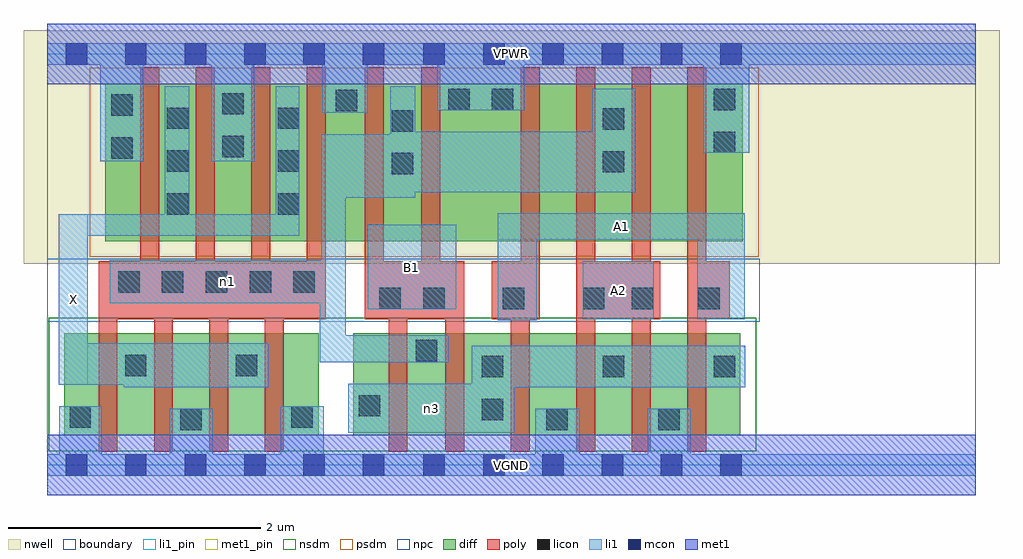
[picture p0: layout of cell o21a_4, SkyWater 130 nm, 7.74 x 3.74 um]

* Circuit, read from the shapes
.subckt o21a_4 A1 A2 B1 VGND VPWR X n1 n3
XM1 X n1 VGND VSUBS sky130_fd_pr__nfet_01v8 w=0.81 l=0.15 m=4
XM2 n1 B1 n3 VSUBS sky130_fd_pr__nfet_01v8 w=0.81 l=0.15 m=2
XM3 VGND A1 n3 VSUBS sky130_fd_pr__nfet_01v8 w=0.81 l=0.15 m=2
XM4 n3 A2 VGND VSUBS sky130_fd_pr__nfet_01v8 w=0.81 l=0.15 m=2
XM5 X n1 VPWR n2 sky130_fd_pr__pfet_01v8 w=1.25 l=0.15 m=4
XM6 n1 B1 VPWR n2 sky130_fd_pr__pfet_01v8 w=1.25 l=0.15 m=2
XM7 n4 A1 VPWR n2 sky130_fd_pr__pfet_01v8 w=1.25 l=0.15
XM8 n1 A2 n4 n2 sky130_fd_pr__pfet_01v8 w=1.25 l=0.15
XM9 n5 A2 n1 n2 sky130_fd_pr__pfet_01v8 w=1.25 l=0.15
XM10 VPWR A1 n5 n2 sky130_fd_pr__pfet_01v8 w=1.25 l=0.15
.ends

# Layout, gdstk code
import gdstk
lib = gdstk.Library(unit=1e-6, precision=1e-09)
def R(c, l, rs):  # rectangles x0, y0, x1, y1
    for r in rs: c.add(gdstk.rectangle(r[:2], r[2:], *l))
def A(c, l, x, y, w, h, nx, ny, dx, dy):  # array of equal rectangles
    R(c, l, [(x+i*dx, y+j*dy, x+i*dx+w, y+j*dy+h) for i in range(nx) for j in range(ny)])
nwell = (64, 20)
diff = (65, 20)
poly = (66, 20)
licon = (66, 44)
li1_pin = (67, 16)
li1 = (67, 20)
mcon = (67, 44)
met1_pin = (68, 16)
met1 = (68, 20)
nsdm = (93, 44)
psdm = (94, 20)
npc = (95, 20)
boundary = (235, 4)

o21a_4 = lib.new_cell('o21a_4')
R(o21a_4, nwell, [(-0.19,1.595,7.55,3.45), (0,1.595,7.36,3.45)])
R(o21a_4, diff, [(0.135,0.235,2.15,1.045), (2.425,0.235,5.495,1.045), (0.46,1.775,5.515,3.025)])
A(o21a_4, poly, 0.405, 0.105, 0.15, 1.51, 4, 1, 0.44, 0)
A(o21a_4, poly, 4.195, 0.105, 0.15, 3.05, 3, 1, 0.44, 0)
A(o21a_4, poly, 0.735, 1.155, 0.15, 2, 4, 1, 0.44, 0)
R(o21a_4, poly, [(2.705,0.105,2.855,1.615), (3.155,0.105,3.305,1.615), (3.675,0.105,3.825,1.615), (0.405,1.155,2.205,1.615), (2.515,1.155,2.665,3.155), (2.515,1.155,3.305,1.615), (2.965,1.155,3.115,3.155), (3.525,1.155,3.905,1.615), (3.755,1.155,3.905,3.155), (4.195,1.155,4.86,1.615), (5.075,1.155,5.41,1.615)])
A(o21a_4, licon, 0.905, 1.365, 0.17, 0.17, 3, 1, 0.35, 0)
A(o21a_4, licon, 0.945, 1.985, 0.17, 0.17, 1, 3, 0, 0.34)
A(o21a_4, licon, 1.825, 1.985, 0.17, 0.17, 1, 3, 0, 0.34)
R(o21a_4, licon, [(1.055,0.275,1.225,0.445), (3.955,0.275,4.125,0.445), (4.845,0.275,5.015,0.445), (0.175,0.295,0.345,0.465), (1.935,0.295,2.105,0.465), (3.445,0.355,3.615,0.525), (2.47,0.385,2.64,0.555), (3.445,0.695,3.615,0.865), (4.405,0.695,4.575,0.865), (5.285,0.695,5.455,0.865), (0.615,0.705,0.785,0.875), (1.495,0.705,1.665,0.875), (2.92,0.825,3.09,0.995), (2.63,1.235,2.8,1.405), (2.98,1.235,3.15,1.405), (3.61,1.235,3.78,1.405), (4.245,1.235,4.415,1.405), (4.635,1.235,4.805,1.405), (5.16,1.235,5.33,1.405), (0.56,1.365,0.73,1.535), (1.95,1.365,2.12,1.535), (2.73,2.305,2.9,2.475), (4.405,2.32,4.575,2.49), (0.505,2.43,0.675,2.6), (1.385,2.44,1.555,2.61), (5.285,2.475,5.455,2.645), (2.73,2.645,2.9,2.815), (4.405,2.66,4.575,2.83), (0.505,2.77,0.675,2.94), (1.385,2.78,1.555,2.95), (2.285,2.805,2.455,2.975), (3.18,2.815,3.35,2.985), (3.525,2.815,3.695,2.985), (5.285,2.815,5.455,2.985)])
R(o21a_4, li1_pin, [(0.09,0.635,0.32,1.99), (4.245,1.155,4.81,1.615), (2.54,1.235,3.24,1.905), (3.57,1.785,5.53,1.995)])
R(o21a_4, li1, [(0,-0.085,7.36,0.085), (0.095,-0.085,0.43,0.465), (0.97,-0.085,1.31,0.445), (1.85,-0.085,2.19,0.465), (3.87,-0.085,4.22,0.445), (4.76,-0.085,5.1,0.445), (2.385,0.255,3.7,0.645), (3.365,0.255,3.7,0.945), (0.605,0.615,1.75,0.965), (3.365,0.615,5.535,0.945), (0.09,0.635,1.75,0.965), (0.09,0.635,0.32,1.99), (2.16,0.815,3.18,1.03), (2.16,0.815,2.365,1.625), (2.17,0.815,2.365,2.625), (3.57,1.15,3.88,1.995), (4.245,1.155,4.81,1.615), (5.155,1.155,5.53,1.995), (2.54,1.235,3.24,1.905), (0.495,1.285,2.365,1.625), (3.57,1.785,5.53,1.995), (0.09,1.82,1.995,1.99), (0.93,1.82,1.125,3.005), (1.81,1.82,1.995,3.005), (2.17,2.12,2.915,2.625), (2.72,2.12,2.915,3.005), (2.72,2.165,4.66,2.645), (4.32,2.165,4.66,2.985), (0.42,2.41,0.76,3.345), (1.3,2.41,1.64,3.345), (5.2,2.475,5.565,3.345), (2.18,2.795,2.54,3.345), (3.09,2.815,3.78,3.345), (0,3.175,7.36,3.345)])
A(o21a_4, mcon, 1.09, -0.085, 0.17, 0.17, 4, 2, 0.47, 3.26)
A(o21a_4, mcon, 3.455, -0.085, 0.17, 0.17, 5, 2, 0.47, 3.26)
R(o21a_4, mcon, [(0.145,-0.085,0.315,0.085), (0.615,-0.085,0.785,0.085), (2.98,-0.085,3.15,0.085), (0.145,3.175,0.315,3.345), (0.615,3.175,0.785,3.345), (2.98,3.175,3.15,3.345)])
R(o21a_4, met1_pin, [(0,-0.24,7.36,0.24), (0,3.02,7.36,3.5)])
R(o21a_4, met1, [(0,-0.24,7.36,0.24), (0,3.02,7.36,3.5)])
R(o21a_4, nsdm, [(0.01,0.11,5.62,1.17)])
R(o21a_4, psdm, [(0.335,1.65,5.64,3.15)])
R(o21a_4, npc, [(0,1.135,5.65,1.635)])
R(o21a_4, boundary, [(0,0,7.36,3.26)])
o21a_4.add(gdstk.Label('A1', (4.55,1.89), layer=67, texttype=5))
o21a_4.add(gdstk.Label('A2', (4.527,1.385), layer=67, texttype=5))
o21a_4.add(gdstk.Label('B1', (2.89,1.57), layer=67, texttype=5))
o21a_4.add(gdstk.Label('X', (0.205,1.312), layer=67, texttype=5))
o21a_4.add(gdstk.Label('n3', (3.042,0.45), layer=67, texttype=5))
o21a_4.add(gdstk.Label('n1', (1.43,1.455), layer=67, texttype=5))
o21a_4.add(gdstk.Label('VPWR', (3.68,3.26), layer=68, texttype=5))
o21a_4.add(gdstk.Label('VGND', (3.68,0), layer=68, texttype=5))
o21a_4.add(gdstk.Label('A1', (4.55,1.89), layer=67, texttype=16))
o21a_4.add(gdstk.Label('A2', (4.527,1.385), layer=67, texttype=16))
o21a_4.add(gdstk.Label('B1', (2.89,1.57), layer=67, texttype=16))
o21a_4.add(gdstk.Label('X', (0.205,1.312), layer=67, texttype=16))
o21a_4.add(gdstk.Label('VPWR', (3.68,3.26), layer=68, texttype=16))
o21a_4.add(gdstk.Label('VGND', (3.68,0), layer=68, texttype=16))

lib.write_gds('o21a_4.gds')
